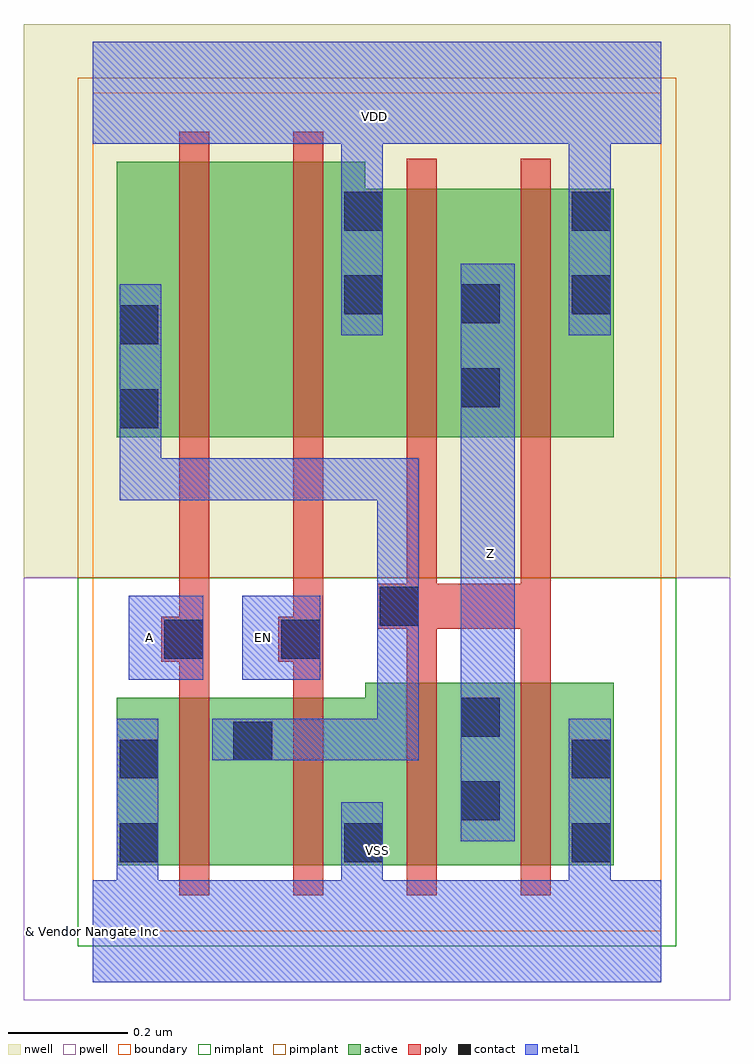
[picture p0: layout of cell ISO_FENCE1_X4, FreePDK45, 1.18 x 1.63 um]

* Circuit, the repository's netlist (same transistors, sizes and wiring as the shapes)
* 
* ******************************************************************************
* *                                                                            *
* *                   Copyright (C) 2004-2011, Nangate Inc.                    *
* *                           All rights reserved.                             *
* *                                                                            *
* * Nangate and the Nangate logo are trademarks of Nangate Inc.                *
* *                                                                            *
* * All trademarks, logos, software marks, and trade names (collectively the   *
* * "Marks") in this program are proprietary to Nangate or other respective    *
* * owners that have granted Nangate the right and license to use such Marks.  *
* * You are not permitted to use the Marks without the prior written consent   *
* * of Nangate or such third party that may own the Marks.                     *
* *                                                                            *
* * This file has been provided pursuant to a License Agreement containing     *
* * restrictions on its use. This file contains valuable trade secrets and     *
* * proprietary information of Nangate Inc., and is protected by U.S. and      *
* * international laws and/or treaties.                                        *
* *                                                                            *
* * The copyright notice(s) in this file does not indicate actual or intended  *
* * publication of this file.                                                  *
* *                                                                            *
* *     NGLibraryCreator, v2010.08-HR32-SP3-2010-08-05 - build 1009061800      *
* *                                                                            *
* ******************************************************************************
* 
* 
* Running on server08.nangate.com for user Giancarlo Franciscatto (gfr).
* Local time is now Thu, 6 Jan 2011, 19:45:46.
* Main process id is 3320.
*
********************************************************************************
*                                                                              *
* Cellname:   ISO_FENCE1_X4.                                                   *
*                                                                              *
* Technology: NCSU FreePDK 45nm.                                               *
* Format:     Cdl.                                                             *
*                                                                              *
* Written on server08.nangate.com for user Giancarlo Franciscatto (gfr)        *
* at 19:45:46 on Thu, 6 Jan 2011.                                              *
*                                                                              *
********************************************************************************
.SUBCKT ISO_FENCE1_X4 A EN Z VDD VSS 
*.PININFO A:I EN:I Z:O VDD:P VSS:G 
*.EQN Z=(A + EN)
M_i_0 net_000 A VSS VSS NMOS_VTL W=0.280000U L=0.050000U
M_i_7 VSS EN net_000 VSS NMOS_VTL W=0.280000U L=0.050000U
M_i_13 Z net_000 VSS VSS NMOS_VTL W=0.305000U L=0.050000U
M_i_20 VSS net_000 Z VSS NMOS_VTL W=0.305000U L=0.050000U
M_i_26 net_001 A net_000 VDD PMOS_VTL W=0.460000U L=0.050000U
M_i_31 VDD EN net_001 VDD PMOS_VTL W=0.460000U L=0.050000U
M_i_37 Z net_000 VDD VDD PMOS_VTL W=0.415000U L=0.050000U
M_i_44 VDD net_000 Z VDD PMOS_VTL W=0.415000U L=0.050000U
.ENDS 

********************************************************************************
*
* END
*
********************************************************************************

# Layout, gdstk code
import gdstk
lib = gdstk.Library(unit=1e-6, precision=1e-10)
def R(c, l, rs):  # rectangles x0, y0, x1, y1
    for r in rs: c.add(gdstk.rectangle(r[:2], r[2:], *l))
def P(c, l, *ps):  # polygons
    for p in ps: c.add(gdstk.Polygon(p, *l))
active = (1, 0)
pwell = (2, 0)
nwell = (3, 0)
nimplant = (4, 0)
pimplant = (5, 0)
poly = (9, 0)
contact = (10, 0)
metal1 = (11, 0)
boundary = (235, 0)

iso_fence1_x4 = lib.new_cell('ISO_FENCE1_X4')
P(iso_fence1_x4, active, [(0.04,0.11),(0.87,0.11),(0.87,0.415),(0.455,0.415),(0.455,0.39),(0.04,0.39)],
  [(0.04,0.825),(0.87,0.825),(0.87,1.24),(0.455,1.24),(0.455,1.285),(0.04,1.285)])
R(iso_fence1_x4, pwell, [(-0.115,-0.115,1.065,0.59)])
R(iso_fence1_x4, nwell, [(-0.115,0.59,1.065,1.515)])
R(iso_fence1_x4, nimplant, [(-0.025,-0.025,0.975,0.59)])
R(iso_fence1_x4, pimplant, [(-0.025,0.59,0.975,1.425)])
P(iso_fence1_x4, poly, [(0.115,0.45),(0.145,0.45),(0.145,0.06),(0.195,0.06),(0.195,1.335),(0.145,1.335),(0.145,0.525),(0.115,0.525)],
  [(0.31,0.45),(0.335,0.45),(0.335,0.06),(0.385,0.06),(0.385,1.335),(0.335,1.335),(0.335,0.525),(0.31,0.525)],
  [(0.475,0.505),(0.525,0.505),(0.525,0.06),(0.575,0.06),(0.575,0.505),(0.715,0.505),(0.715,0.06),(0.765,0.06),(0.765,1.29),(0.715,1.29),(0.715,0.58),(0.575,0.58),(0.575,1.29),(0.525,1.29),(0.525,0.58),(0.475,0.58)])
R(iso_fence1_x4, contact, [(0.045,0.115,0.11,0.18), (0.42,0.115,0.485,0.18), (0.8,0.115,0.865,0.18), (0.615,0.185,0.68,0.25), (0.045,0.255,0.11,0.32), (0.8,0.255,0.865,0.32), (0.235,0.285,0.3,0.35), (0.615,0.325,0.68,0.39), (0.12,0.455,0.185,0.52), (0.315,0.455,0.38,0.52), (0.48,0.51,0.545,0.575), (0.045,0.84,0.11,0.905), (0.615,0.875,0.68,0.94), (0.045,0.98,0.11,1.045), (0.615,1.015,0.68,1.08), (0.42,1.03,0.485,1.095), (0.8,1.03,0.865,1.095), (0.42,1.17,0.485,1.235), (0.8,1.17,0.865,1.235)])
R(iso_fence1_x4, metal1, [(0.615,0.15,0.705,1.115), (0.06,0.42,0.185,0.56), (0.25,0.42,0.38,0.56)])
P(iso_fence1_x4, metal1, [(0,-0.085),(0.95,-0.085),(0.95,0.085),(0.865,0.085),(0.865,0.355),(0.795,0.355),(0.795,0.085),(0.485,0.085),(0.485,0.215),(0.415,0.215),(0.415,0.085),(0.11,0.085),(0.11,0.355),(0.04,0.355),(0.04,0.085),(0,0.085)],
  [(0,1.315),(0.415,1.315),(0.415,0.995),(0.485,0.995),(0.485,1.315),(0.795,1.315),(0.795,0.995),(0.865,0.995),(0.865,1.315),(0.95,1.315),(0.95,1.485),(0,1.485)],
  [(0.045,0.72),(0.475,0.72),(0.475,0.355),(0.2,0.355),(0.2,0.285),(0.545,0.285),(0.545,0.79),(0.115,0.79),(0.115,1.08),(0.045,1.08)])
R(iso_fence1_x4, boundary, [(0,0,0.95,1.4)])
iso_fence1_x4.add(gdstk.Label('A', (0.095,0.49), layer=11, texttype=0))
iso_fence1_x4.add(gdstk.Label('EN', (0.285,0.49), layer=11, texttype=0))
iso_fence1_x4.add(gdstk.Label('VDD', (0.47,1.36), layer=11, texttype=0))
iso_fence1_x4.add(gdstk.Label('VSS', (0.475,0.135), layer=11, texttype=0))
iso_fence1_x4.add(gdstk.Label('Z', (0.665,0.63), layer=11, texttype=0))
iso_fence1_x4.add(gdstk.Label('& Vendor Nangate Inc', (0,0), layer=63, texttype=63))
iso_fence1_x4.add(gdstk.Label('& Product Open Cell Library', (0,0), layer=63, texttype=63))
iso_fence1_x4.add(gdstk.Label('& Version 2010_12', (0,0), layer=63, texttype=63))
iso_fence1_x4.add(gdstk.Label('& Instance ISO_FENCE1_X4', (0,0), layer=63, texttype=63))

lib.write_gds('ISO_FENCE1_X4.gds')
